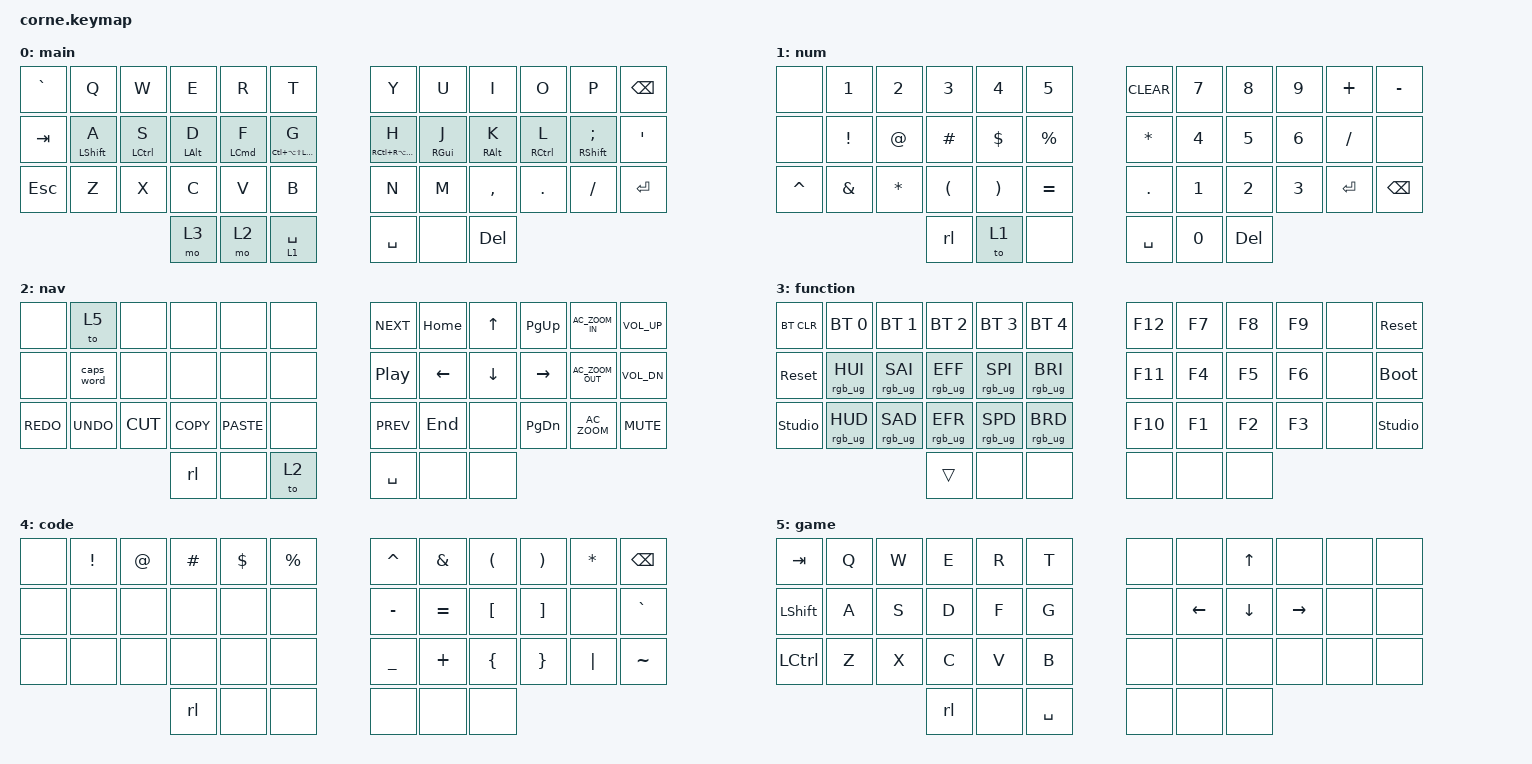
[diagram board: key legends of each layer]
/*
 * Copyright (c) 2020 The ZMK Contributors
 *
 * SPDX-License-Identifier: MIT
 */

#include <behaviors.dtsi>
#include <dt-bindings/zmk/bt.h>
#include <dt-bindings/zmk/keys.h>
#include <dt-bindings/zmk/rgb.h>

/ {
    behaviors {
        hrl: homerow_left {
            compatible = "zmk,behavior-hold-tap";
            label = "Homerow_Left";
            bindings = <&kp>, <&kp>;

            #binding-cells = <2>;
            hold-trigger-key-positions = <6 7 8 9 10 11 18 19 20 21 22 23 30 31 32 33 34 35 40 41 39>;
            tapping-term-ms = <200>;
        };

        hrr: homerow_right {
            compatible = "zmk,behavior-hold-tap";
            label = "Homerow_Right";
            bindings = <&kp>, <&kp>;

            #binding-cells = <2>;
            tapping-term-ms = <200>;
            hold-trigger-key-positions = <0 1 2 3 4 5 12 13 14 15 16 17 24 25 26 27 28 29 36 37 38>;
        };

        rl: reset_layer {
            compatible = "zmk,behavior-tap-dance";
            label = "RESET_LAYER";
            #binding-cells = <0>;
            bindings = <&none>, <&to 0>;
        };
    };

    keymap {
        compatible = "zmk,keymap";

        main {
            // -----------------------------------------------------------------------------------------
            // |  TAB |  Q  |  W  |  E  |  R  |  T  |   |  Y  |  U   |  I  |  O  |  P  | BSPC |
            // | CTRL |  A  |  S  |  D  |  F  |  G  |   |  H  |  J   |  K  |  L  |  ;  |  '   |
            // | SHFT |  Z  |  X  |  C  |  V  |  B  |   |  N  |  M   |  ,  |  .  |  /  | ESC  |
            //                    | GUI | LWR | SPC |   | ENT | RSE  | ALT |

            bindings = <
&kp GRAVE  &kp Q         &kp W         &kp E        &kp R        &kp T                          &kp Y                         &kp U        &kp I        &kp O         &kp P            &kp BSPC
&kp TAB    &hrl LSHFT A  &hrl LCTRL S  &hrl LALT D  &hrl LCMD F  &hrl LC(LA(LS(LEFT_GUI))) G    &hrr RC(RA(RS(RIGHT_GUI))) H  &hrr RGUI J  &hrr RALT K  &hrr RCTRL L  &hrr RSHFT SEMI  &kp SQT
&kp ESC    &kp Z         &kp X         &kp C        &kp V        &kp B                          &kp N                         &kp M        &kp COMMA    &kp DOT       &kp FSLH         &kp RET
                                       &mo 3        &mo 2        &lt 1 SPACE                    &kp SPACE                     &none        &kp DEL
            >;
        };

        num {
            bindings = <
&none      &kp N1         &kp N2        &kp N3    &kp N4      &kp N5         &kp CLEAR     &kp N7  &kp N8   &kp N9  &kp PLUS   &kp MINUS
&none      &kp EXCL       &kp AT_SIGN   &kp HASH  &kp DOLLAR  &kp PERCENT    &kp ASTERISK  &kp N4  &kp N5   &kp N6  &kp SLASH  &none
&kp CARET  &kp AMPERSAND  &kp ASTERISK  &kp LPAR  &kp RPAR    &kp EQUAL      &kp DOT       &kp N1  &kp N2   &kp N3  &kp RET    &kp BSPC
                                        &rl       &to 1       &none          &kp SPACE     &kp N0  &kp DEL
            >;
        };

        nav {
            bindings = <
&none       &to 5       &none      &none       &none        &none    &kp C_NEXT        &kp HOME  &kp UP    &kp PG_UP  &kp C_AC_ZOOM_IN   &kp C_VOL_UP
&none       &caps_word  &none      &none       &none        &none    &kp C_PLAY_PAUSE  &kp LEFT  &kp DOWN  &kp RIGHT  &kp C_AC_ZOOM_OUT  &kp C_VOL_DN
&kp K_REDO  &kp K_UNDO  &kp K_CUT  &kp K_COPY  &kp K_PASTE  &none    &kp C_PREV        &kp END   &none     &kp PG_DN  &kp C_AC_ZOOM      &kp C_MUTE
                                   &rl         &none        &to 2    &kp SPACE         &none     &none
            >;
        };

        function {
            // -----------------------------------------------------------------------------------------
            // |  TAB |  1  |  2  |  3  |  4  |  5  |   |  6  |  7  |  8  |  9  |  0  | BSPC |
            // | BTCLR| BT1 | BT2 | BT3 | BT4 | BT5 |   | LFT | DWN |  UP | RGT |     |      |
            // | SHFT |     |     |     |     |     |   |     |     |     |     |     |      |
            //                    | GUI |     | SPC |   | ENT |     | ALT |

            bindings = <
&bt BT_CLR      &bt BT_SEL 0     &bt BT_SEL 1     &bt BT_SEL 2     &bt BT_SEL 3     &bt BT_SEL 4       &kp F12  &kp F7  &kp F8  &kp F9  &none  &sys_reset
&sys_reset      &rgb_ug RGB_HUI  &rgb_ug RGB_SAI  &rgb_ug RGB_EFF  &rgb_ug RGB_SPI  &rgb_ug RGB_BRI    &kp F11  &kp F4  &kp F5  &kp F6  &none  &bootloader
&studio_unlock  &rgb_ug RGB_HUD  &rgb_ug RGB_SAD  &rgb_ug RGB_EFR  &rgb_ug RGB_SPD  &rgb_ug RGB_BRD    &kp F10  &kp F1  &kp F2  &kp F3  &none  &studio_unlock
                                                  &trans           &none            &none              &none    &none   &none
            >;
        };

        code {
            // -----------------------------------------------------------------------------------------
            // |  TAB |  !  |  @  |  #  |  $  |  %  |   |  ^  |  &  |  *  |  (  |  )  | BSPC |
            // | CTRL |     |     |     |     |     |   |  -  |  =  |  [  |  ]  |  \  |  `   |
            // | SHFT |     |     |     |     |     |   |  _  |  +  |  {  |  }  | "|" |  ~   |
            //                    | GUI |     | SPC |   | ENT |     | ALT |

            bindings = <
&none  &kp EXCL  &kp AT  &kp HASH  &kp DLLR  &kp PRCNT    &kp CARET  &kp AMPS   &kp LPAR  &kp RPAR  &kp ASTERISK  &kp BSPC
&none  &none     &none   &none     &none     &none        &kp MINUS  &kp EQUAL  &kp LBKT  &kp RBKT  &none         &kp GRAVE
&none  &none     &none   &none     &none     &none        &kp UNDER  &kp PLUS   &kp LBRC  &kp RBRC  &kp PIPE      &kp TILDE
                         &rl       &none     &none        &none      &none      &none
            >;
        };

        game {
            bindings = <
&kp TAB    &kp Q  &kp W  &kp E  &kp R  &kp T        &none  &none     &kp UP    &none      &none  &none
&kp LSHFT  &kp A  &kp S  &kp D  &kp F  &kp G        &none  &kp LEFT  &kp DOWN  &kp RIGHT  &none  &none
&kp LCTRL  &kp Z  &kp X  &kp C  &kp V  &kp B        &none  &none     &none     &none      &none  &none
                         &rl    &none  &kp SPACE    &none  &none     &none
            >;
        };
    };
};

&led_strip { chain-length = <27>; };
